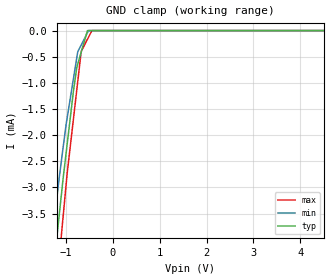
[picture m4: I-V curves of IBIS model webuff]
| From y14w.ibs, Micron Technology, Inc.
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|   webuff MODEL
[Model]   webuff
Model_type   Input
| Used for WE. Contains no Power Clamp Structures.
Vinl = 800.000mV
Vinh = 2.000V
|   typ   min   max
C_comp   2.650pF   2.400pF   2.900pF
[Voltage Range]   3.300V   3.000V   3.600V
| Junction Temperature (Ambient temp is 25C typ, 70C min, 0C max)
[Temperature Range]   40.0   85.0   0.0
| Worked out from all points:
|   GND clamp passes 1 mA (typ) near -0.81 V on its own axis
[GND Clamp]
|   Voltage   I(typ)   I(min)   I(max)
-3.3V     -641.9mA   -660.3mA   -620mA
-1.275V   -4.668mA   -3.839mA   -5.659mA
-1.185V   -3.884mA   -3.138mA   -4.763mA
-1.14V    -3.505mA   -2.796mA   -4.331mA
-1.06V    -2.832mA   -2.239mA   -3.563mA
-975mV    -2.187mA   -1.679mA   -2.748mA
-770mV    -722uA     -530uA     -1.15mA
-745mV    -633.4uA   -400.1uA   -955.7uA
-675mV    -414.2uA   -277.8uA   -411.1uA
-540mV    0A         -41.89uA   -165.3uA
-445mV    0A         0A         0A
6.6V      0A         0A         0A
[POWER Clamp]
|   Voltage   I(typ)   I(min)   I(max)
-3.3V     0A         0A         0A
0V        0A         0A         0A
6.6V      0A         0A         0A
